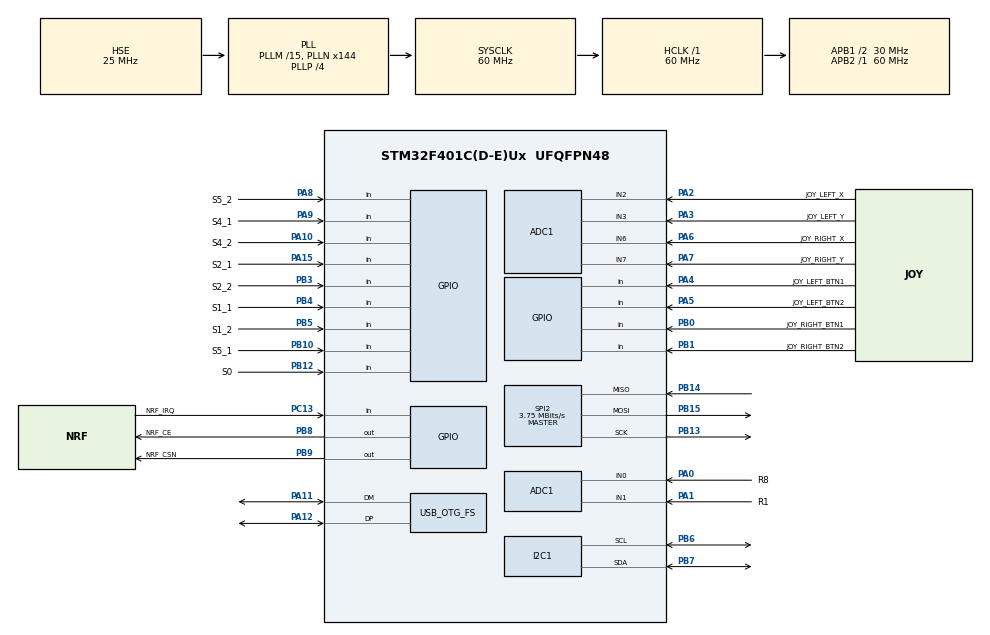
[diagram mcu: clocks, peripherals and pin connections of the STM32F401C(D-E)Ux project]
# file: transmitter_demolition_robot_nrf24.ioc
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ADC1.Channel-0\#ChannelRegularConversion=ADC_CHANNEL_0
ADC1.NbrOfConversionFlag=1
ADC1.Rank-0\#ChannelRegularConversion=1
ADC1.SamplingTime-0\#ChannelRegularConversion=ADC_SAMPLETIME_3CYCLES
ADC1.master=1
I2C1.I2C_Mode=I2C_Fast
Mcu.Family=STM32F4
Mcu.Name=STM32F401C(D-E)Ux
Mcu.Package=UFQFPN48
NVIC.OTG_FS_IRQn=true\:0\:0\:false\:false\:true\:false\:true\:true
NVIC.PriorityGroup=NVIC_PRIORITYGROUP_4
PA0-WKUP.GPIO_Label=R8
PA0-WKUP.Signal=ADCx_IN0
PA1.GPIO_Label=R1
PA1.Signal=ADCx_IN1
PA10.GPIO_Label=S4_2
PA10.Signal=GPIO_Input
PA11.Mode=Device_Only
PA11.Signal=USB_OTG_FS_DM
PA12.Mode=Device_Only
PA12.Signal=USB_OTG_FS_DP
PA15.GPIO_Label=S2_1
PA15.Signal=GPIO_Input
PA2.GPIO_Label=JOY_LEFT_X
PA2.Signal=ADCx_IN2
PA3.GPIO_Label=JOY_LEFT_Y
PA3.Signal=ADCx_IN3
PA4.GPIO_Label=JOY_LEFT_BTN1
PA4.Signal=GPIO_Input
PA5.GPIO_Label=JOY_LEFT_BTN2
PA5.Signal=GPIO_Input
PA6.GPIO_Label=JOY_RIGHT_X
PA6.Signal=ADCx_IN6
PA7.GPIO_Label=JOY_RIGHT_Y
PA7.Signal=ADCx_IN7
PA8.GPIO_Label=S5_2
PA8.Signal=GPIO_Input
PA9.GPIO_Label=S4_1
PA9.Signal=GPIO_Input
PB0.GPIO_Label=JOY_RIGHT_BTN1
PB0.Signal=GPIO_Input
PB1.GPIO_Label=JOY_RIGHT_BTN2
PB1.Signal=GPIO_Input
PB10.GPIO_Label=S5_1
PB10.Signal=GPIO_Input
PB12.GPIO_Label=S0
PB12.Signal=GPIO_Input
PB13.Mode=Full_Duplex_Master
PB13.Signal=SPI2_SCK
PB14.Mode=Full_Duplex_Master
PB14.Signal=SPI2_MISO
PB15.Mode=Full_Duplex_Master
PB15.Signal=SPI2_MOSI
PB3.GPIO_Label=S2_2
PB3.Signal=GPIO_Input
PB4.GPIO_Label=S1_1
PB4.Signal=GPIO_Input
PB5.GPIO_Label=S1_2
PB5.Signal=GPIO_Input
PB6.Mode=I2C
PB6.Signal=I2C1_SCL
PB7.Mode=I2C
PB7.Signal=I2C1_SDA
PB8.GPIO_Label=NRF_CE
PB8.Signal=GPIO_Output
PB9.GPIO_Label=NRF_CSN
PB9.Signal=GPIO_Output
PC13-ANTI_TAMP.GPIO_Label=NRF_IRQ
PC13-ANTI_TAMP.Signal=GPIO_Input
PH0\ -\ OSC_IN.Mode=HSE-External-Oscillator
PH0\ -\ OSC_IN.Signal=RCC_OSC_IN
PH1\ -\ OSC_OUT.Mode=HSE-External-Oscillator
PH1\ -\ OSC_OUT.Signal=RCC_OSC_OUT
ProjectManager.HeapSize=0x200
ProjectManager.StackSize=0x400
ProjectManager.TargetToolchain=STM32CubeIDE
RCC.48MHZClocksFreq_Value=48000000
RCC.AHBFreq_Value=60000000
RCC.APB1CLKDivider=RCC_HCLK_DIV2
RCC.APB1Freq_Value=30000000
RCC.APB1TimFreq_Value=60000000
RCC.APB2Freq_Value=60000000
RCC.APB2TimFreq_Value=60000000
RCC.CortexFreq_Value=60000000
RCC.HCLKFreq_Value=60000000
RCC.HSE_VALUE=25000000
RCC.HSI_VALUE=16000000
RCC.LSE_VALUE=32768
RCC.PLLM=15
RCC.PLLN=144
RCC.PLLP=RCC_PLLP_DIV4
RCC.PLLQ=5
RCC.SYSCLKFreq_VALUE=60000000
RCC.SYSCLKSource=RCC_SYSCLKSOURCE_PLLCLK
RCC.VCOOutputFreq_Value=240000000
SH.ADCx_IN0.0=ADC1_IN0,IN0
SH.ADCx_IN1.0=ADC1_IN1,IN1
SH.ADCx_IN2.0=ADC1_IN2,IN2
SH.ADCx_IN3.0=ADC1_IN3,IN3
SH.ADCx_IN6.0=ADC1_IN6,IN6
SH.ADCx_IN7.0=ADC1_IN7,IN7
SPI2.BaudRatePrescaler=SPI_BAUDRATEPRESCALER_8
SPI2.CalculateBaudRate=3.75 MBits/s
SPI2.Direction=SPI_DIRECTION_2LINES
SPI2.Mode=SPI_MODE_MASTER
SPI2.VirtualType=VM_MASTER
USB_DEVICE.CLASS_NAME_FS=CDC
USB_DEVICE.VirtualMode-CDC_FS=Cdc
USB_DEVICE.VirtualModeFS=Cdc_FS
USB_OTG_FS.VirtualMode=Device_Only
VP_USB_DEVICE_VS_USB_DEVICE_CDC_FS.Mode=CDC_FS
board=custom

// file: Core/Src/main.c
/* USER CODE BEGIN Header */
/**
  ******************************************************************************
  * @file           : main.c
  * @brief          : Main program body
  ******************************************************************************
  * @attention
  *
  * Copyright (c) 2025 STMicroelectronics.
  * All rights reserved.
  *
  * This software is licensed under terms that can be found in the LICENSE file
  * in the root directory of this software component.
  * If no LICENSE file comes with this software, it is provided AS-IS.
  *
  ******************************************************************************
  */
/* USER CODE END Header */
#include "main.h"
#include "adc.h"
#include "i2c.h"
#include "spi.h"
#include "usb_device.h"
#include "gpio.h"

/* USER CODE BEGIN Includes */
// Custom modules (OOP style)
#include "var.h"
#include "joystick.h"
#include "switch.h"
#include "usb.h"
#include "nrf24.h"
#include "oled.h"
#include "battery.h"
/* USER CODE END Includes */

/* USER CODE BEGIN PV */
// NOTE: Add this in i2c.c after enabling I2C1 in CubeMX:
// I2C_HandleTypeDef hi2c1;
extern I2C_HandleTypeDef hi2c1;  // I2C1 for OLED (PB6=SCL, PB7=SDA)
/* USER CODE END PV */

void SystemClock_Config(void);

int main(void)
{

  /* MCU Configuration--------------------------------------------------------*/

  /* Reset of all peripherals, Initializes the Flash interface and the Systick. */
  HAL_Init();

  /* Configure the system clock */
  SystemClock_Config();

  /* Initialize all configured peripherals */
  MX_GPIO_Init();
  MX_ADC1_Init();
  MX_SPI2_Init();
  MX_USB_DEVICE_Init();
  MX_I2C1_Init();
  /* USER CODE BEGIN 2 */

  // SLEEP mode variables
  uint8_t sleep_mode_active = 1;  // Start in SLEEP mode for safety!
  uint8_t sleep_transition_steps = 0;
  uint8_t safety_check_passed = 0;
  uint8_t last_s2_1_state = 0;
  uint8_t s2_1_hold_counter = 0;
  uint8_t s1_1_hold_counter = 0;
  uint8_t last_s0_state = 1;  // Track S0 state to detect S0 transitions (0→1)

  #define SLEEP_TRANSITION_SPEED 10  // 10 steps = 100ms total transition (10ms per step, very responsive!)
  #define S2_1_HOLD_REQUIRED 10      // 10 cycles x 100ms = 1 second hold required
  #define S1_1_HOLD_REQUIRED 10      // 10 cycles x 100ms = 1 second hold required

  // Motor starter variables
  uint8_t motor_active = 0;        // Motor starter state (0=OFF, 1=ON)

  // Safety tolerances for exiting SLEEP mode
  #define JOYSTICK_CENTER 127
  #define JOYSTICK_TOLERANCE 5   // ±5 points tolerance

  // Initialize custom modules
  Var_Init();      // Initialize data structure dan sub-modules (joystick, switch)
  USB_Init();      // Initialize USB CDC

  // Initialize NRF24L01+ module with CE=PB8, CSN=PB9 (Hardware SPI2)
  NRF24_Init(&hspi2, GPIOB, GPIO_PIN_8, GPIOB, GPIO_PIN_9);

  // Welcome message
  USB_Print("\r\n\r\n");
  USB_Print("========================================\r\n");
  USB_Print("  DEMOLITION ROBOT TRANSMITTER (NRF24)\r\n");
  USB_Print("========================================\r\n");
  USB_Print("Configuring NRF24L01+...\r\n");

  // Configure NRF24 module
  if (NRF24_Configure())
  {
      USB_Print("NRF24L01+ configured successfully!\r\n");
      if (NRF24_IsConnected())
      {
          USB_Print("NRF24L01+ module detected!\r\n");
      }
      else
      {
          USB_Print("WARNING: NRF24L01+ not detected!\r\n");
      }
  }
  else
  {
      USB_Print("NRF24L01+ configuration failed!\r\n");
  }

  USB_Print("NRF24L01+ initialized - Ready to transmit\r\n");
  USB_Print("========================================\r\n");
  HAL_Delay(50);

  // ========================================================================
  // WAIT FOR S0 = 1 BEFORE SYSTEM START (Emergency safety check)
  // ========================================================================
  // System will NOT start until S0 switch is in NORMAL position (S0 = 1)
  // This prevents starting system in EMERGENCY mode (S0 = 0)
  // Ensures safe startup with emergency relay (PB8) in non-active state
  USB_Print("Waiting for S0 switch in NORMAL position (not emergency)...\r\n");

  while (1)
  {
      Var_Update();  // Read switch states

      if (tx_data.switches.s0 == 1)
      {
          // S0 is in NORMAL position - safe to start system!
          USB_Print("S0 in NORMAL mode - Starting system...\r\n");
          break;  // Exit wait loop
      }

      // S0 still in EMERGENCY position - keep waiting
      HAL_Delay(100);
  }

  // Initialize OLED Display (128x64 I2C on PB6/PB7)
  // NOTE: Make sure I2C1 is enabled in CubeMX first!
  // PB6 = I2C1_SCL, PB7 = I2C1_SDA
  OLED_Init(&hi2c1);
  USB_Print("OLED Display initialized\r\n");

  // Show splash screen
  OLED_ShowSplashScreen();
  USB_Print("Splash screen shown\r\n");

  /* USER CODE END 2 */

  /* Infinite loop */
  while (1)
  {

    /* USER CODE BEGIN 3 */
    // Update semua data sensor
    Var_Update();

    // ========================================================================
    // S0 EMERGENCY SWITCH - Controls emergency relay (PB8) on robot
    // ========================================================================
    // S0 = 0: EMERGENCY MODE (transmit s0=0 → PB8 LOW → emergency relay aktif)
    // S0 = 1: NORMAL MODE (transmit s0=1 → PB8 HIGH → emergency relay non-aktif)

    if (tx_data.switches.s0 == 0)
    {
        // ====================================================================
        // S0 = 0 - EMERGENCY MODE
        // ====================================================================
        // Transmit s0 = 0 to trigger emergency relay (PB8 LOW) on robot

        // Turn off OLED to save battery
        OLED_Clear();
        OLED_Update();

        // Override all controls to SAFE values for emergency
        tx_data.joystick.left_x  = 127;
        tx_data.joystick.left_y  = 127;
        tx_data.joystick.right_x = 127;
        tx_data.joystick.right_y = 127;

        // All switches to 0 (except s0 which remains 0 for emergency signal)
        tx_data.switches.joy_left_btn1  = 0;
        tx_data.switches.joy_left_btn2  = 0;
        tx_data.switches.joy_right_btn1 = 0;
        tx_data.switches.joy_right_btn2 = 0;
        tx_data.switches.s1_1 = 0;
        tx_data.switches.s1_2 = 0;
        tx_data.switches.s2_1 = 0;
        tx_data.switches.s2_2 = 0;
        tx_data.switches.s4_1 = 0;
        tx_data.switches.s4_2 = 0;
        tx_data.switches.s5_1 = 0;
        tx_data.switches.s5_2 = 0;
        tx_data.switches.motor_active = 0;

        // Remember S0 was OFF
        last_s0_state = 0;

        // Reset all system variables (emergency state)
        sleep_mode_active = 1;
        sleep_transition_steps = 0;
        safety_check_passed = 0;
        s2_1_hold_counter = 0;
        s1_1_hold_counter = 0;
        motor_active = 0;

        // IMPORTANT: Continue to transmit s0 = 0 (DO NOT skip transmission!)
    }
    else
    {
        // ====================================================================
        // S0 = 1 - NORMAL MODE
        // ====================================================================
        // Check if S0 just transitioned from 0→1 (recovery from emergency)
        if (last_s0_state == 0)
        {
            // S0 switched from emergency to normal! Show splash screen
            USB_Print("S0 switched ON - Recovery from emergency\r\n");
            OLED_ShowSplashScreen();
            HAL_Delay(1000);  // Display splash for 1 second
            last_s0_state = 1;

            // Reset all system variables (fresh start after emergency)
            sleep_mode_active = 1;
            sleep_transition_steps = 0;
            safety_check_passed = 0;
            s2_1_hold_counter = 0;
            s1_1_hold_counter = 0;
            motor_active = 0;

            USB_Print("System restarted - Entering SLEEP mode\r\n");
        }
    }

    // ========================================================================
    // SLEEP MODE - Safety Feature with Safety Interlock
    // ========================================================================

    if (sleep_mode_active)
    {
        // ====================================================================
        // S0 = 1, but still in SLEEP mode - Check Safety Interlock to Exit
        // ====================================================================

        // Step 1: Check if all controls are in SAFE position
        uint8_t joystick_safe = 0;
        uint8_t switches_safe = 0;

        // Check joysticks are centered (127 ± 5)
        if ((tx_data.joystick.left_x  >= JOYSTICK_CENTER - JOYSTICK_TOLERANCE) &&
            (tx_data.joystick.left_x  <= JOYSTICK_CENTER + JOYSTICK_TOLERANCE) &&
            (tx_data.joystick.left_y  >= JOYSTICK_CENTER - JOYSTICK_TOLERANCE) &&
            (tx_data.joystick.left_y  <= JOYSTICK_CENTER + JOYSTICK_TOLERANCE) &&
            (tx_data.joystick.right_x >= JOYSTICK_CENTER - JOYSTICK_TOLERANCE) &&
            (tx_data.joystick.right_x <= JOYSTICK_CENTER + JOYSTICK_TOLERANCE) &&
            (tx_data.joystick.right_y >= JOYSTICK_CENTER - JOYSTICK_TOLERANCE) &&
            (tx_data.joystick.right_y <= JOYSTICK_CENTER + JOYSTICK_TOLERANCE))
        {
            joystick_safe = 1;
        }

        // Check all switches are 0 (except S0 and S2_1 which are excluded)
        // S0 is emergency button (already checked above)
        // S2_1 is excluded so user can press S2_1 to exit SLEEP mode
        // S2_2 must still be OFF for safety
        if ((tx_data.switches.joy_left_btn1  == 0) &&
            (tx_data.switches.joy_left_btn2  == 0) &&
            (tx_data.switches.joy_right_btn1 == 0) &&
            (tx_data.switches.joy_right_btn2 == 0) &&
            (tx_data.switches.s1_1 == 0) &&
            (tx_data.switches.s1_2 == 0) &&
            // S2_1 NOT checked - used to exit SLEEP mode
            (tx_data.switches.s2_2 == 0) &&  // S2_2 must be OFF
            (tx_data.switches.s4_1 == 0) &&
            (tx_data.switches.s4_2 == 0) &&
            (tx_data.switches.s5_1 == 0) &&
            (tx_data.switches.s5_2 == 0))
        {
            switches_safe = 1;
        }

        // Step 2: If all safety checks pass, wait for S2_1 HOLD to exit SLEEP mode
        if (joystick_safe && switches_safe)
        {
            safety_check_passed = 1;

            // S2_1 must be held for S2_1_HOLD_REQUIRED cycles (2 seconds)
            if (tx_data.switches.s2_1 == 1)
            {
                // S2_1 is pressed - increment hold counter
                s2_1_hold_counter++;

                // Check if held long enough
                if (s2_1_hold_counter >= S2_1_HOLD_REQUIRED)
                {
                    // S2_1 held for 2 seconds - EXIT SLEEP MODE!
                    sleep_mode_active = 0;
                    sleep_transition_steps = 0;
                    s2_1_hold_counter = 0;  // Reset counter
                }
            }
            else
            {
                // S2_1 released before hold time completed - reset counter
                s2_1_hold_counter = 0;
            }

            last_s2_1_state = tx_data.switches.s2_1;
        }
        else
        {
            // Safety check failed - reset state
            safety_check_passed = 0;
            last_s2_1_state = 0;
            s2_1_hold_counter = 0;

            // Override transmitted data to safe values during SLEEP
            tx_data.joystick.left_x  = 127;
            tx_data.joystick.left_y  = 127;
            tx_data.joystick.right_x = 127;
            tx_data.joystick.right_y = 127;

            // All switches to 0
            tx_data.switches.joy_left_btn1  = 0;
            tx_data.switches.joy_left_btn2  = 0;
            tx_data.switches.joy_right_btn1 = 0;
            tx_data.switches.joy_right_btn2 = 0;
            tx_data.switches.s1_1 = 0;
            tx_data.switches.s1_2 = 0;
            tx_data.switches.s2_1 = 0;
            tx_data.switches.s2_2 = 0;
            tx_data.switches.s4_1 = 0;
            tx_data.switches.s4_2 = 0;
            tx_data.switches.s5_1 = 0;
            tx_data.switches.s5_2 = 0;
        }
    }
    else
    {
        // ====================================================================
        // Normal operation - S0 = 1 and not in SLEEP mode
        // ====================================================================
        // Use actual sensor readings (already in tx_data from Var_Update)
        safety_check_passed = 0;
        last_s2_1_state = tx_data.switches.s2_1;
    }

    // ========================================================================
    // MOTOR STARTER CONTROL - S1_1 HOLD (1 second) - SELF-HOLDING
    // ========================================================================
    // Flow: SLEEP → Safety OK → Hold S2_1 (1s) → Exit SLEEP → Hold S1_1 (1s) → Motor ON (LATCHED)
    // Motor remains ON even after S1_1 is released (self-holding relay behavior)
    // Motor only turns OFF when entering SLEEP mode

    if (!sleep_mode_active)
    {
        // Not in SLEEP mode - motor control allowed
        if (tx_data.switches.s1_1 == 1)
        {
            // S1_1 is pressed - increment hold counter
            s1_1_hold_counter++;

            // Check if held long enough
            if (s1_1_hold_counter >= S1_1_HOLD_REQUIRED)
            {
                // S1_1 held for 1 second - ACTIVATE MOTOR! (Latched/Self-holding)
                motor_active = 1;
            }
        }
        else
        {
            // S1_1 released - Motor stays ON (self-holding), just reset counter
            s1_1_hold_counter = 0;  // Reset counter for next time
            // Note: motor_active remains unchanged (stays ON if it was ON)
        }
    }
    else
    {
        // In SLEEP mode - force motor OFF (only way to stop motor)
        motor_active = 0;
        s1_1_hold_counter = 0;
    }

    // Update motor state in tx_data before transmission
    tx_data.switches.motor_active = motor_active;

    // Transmit via NRF24L01+ using BINARY format (FAST! No parsing needed)
    // Binary format - only 8 bytes, compatible with receiver
    // NRF24 structure is compatible with our Transmitter_Data_t
    NRF24_Data_t nrf_data;
    nrf_data.joy_left_x = tx_data.joystick.left_x;
    nrf_data.joy_left_y = tx_data.joystick.left_y;
    nrf_data.joy_right_x = tx_data.joystick.right_x;
    nrf_data.joy_right_y = tx_data.joystick.right_y;
    nrf_data.r8 = tx_data.joystick.r8;
    nrf_data.r1 = tx_data.joystick.battery_percent;  // Using battery as R1
    nrf_data.joy_left_btn1 = tx_data.switches.joy_left_btn1;
    nrf_data.joy_left_btn2 = tx_data.switches.joy_left_btn2;
    nrf_data.joy_right_btn1 = tx_data.switches.joy_right_btn1;
    nrf_data.joy_right_btn2 = tx_data.switches.joy_right_btn2;
    nrf_data.s0 = tx_data.switches.s0;
    nrf_data.s1_1 = tx_data.switches.s1_1;
    nrf_data.s1_2 = tx_data.switches.s1_2;
    nrf_data.s2_1 = tx_data.switches.s2_1;
    nrf_data.s2_2 = tx_data.switches.s2_2;
    nrf_data.s4_1 = tx_data.switches.s4_1;
    nrf_data.s4_2 = tx_data.switches.s4_2;
    nrf_data.s5_1 = tx_data.switches.s5_1;
    nrf_data.s5_2 = tx_data.switches.s5_2;
    nrf_data.motor_active = tx_data.switches.motor_active;

    // Transmit packet
    NRF24_TransmitData(&nrf_data);

    // Print data ke USB untuk debugging (less frequently)
    static uint8_t usb_counter = 0;
    if (++usb_counter >= 5)  // Print USB every 5 cycles (500ms)
    {
        usb_counter = 0;
        USB_PrintData(&tx_data);
    }

    // Update OLED display with mode info and percentages (every 10 cycles = 1 second)
    // Update immediately when entering/exiting SLEEP mode, safety status changes, or hold progress changes
    // IMPORTANT: Only update OLED when S0 = 1 (NORMAL mode), not in EMERGENCY mode (S0 = 0)
    if (tx_data.switches.s0 == 1)
    {
        static uint8_t oled_counter = 0;
        static uint8_t last_sleep_state = 0;
        static uint8_t last_safety_state = 0;
        static uint8_t last_hold_counter = 0;
        static uint8_t last_motor_state = 0;

        uint8_t current_hold_progress = sleep_mode_active ? s2_1_hold_counter : s1_1_hold_counter;

        if (sleep_mode_active != last_sleep_state ||
            safety_check_passed != last_safety_state ||
            current_hold_progress != last_hold_counter ||
            motor_active != last_motor_state ||
            ++oled_counter >= 10)
        {
            oled_counter = 0;
            last_sleep_state = sleep_mode_active;
            last_safety_state = safety_check_passed;
            last_hold_counter = current_hold_progress;
            last_motor_state = motor_active;
            OLED_ShowModeScreen(tx_data.switches.s5_1, tx_data.switches.s5_2, (uint8_t*)&tx_data.joystick, sleep_mode_active, safety_check_passed, current_hold_progress, motor_active);
            OLED_Update();
        }
    }

    HAL_Delay(100);
  }
  /* USER CODE END 3 */
}

void SystemClock_Config(void)
{
  RCC_OscInitTypeDef RCC_OscInitStruct = {0};
  RCC_ClkInitTypeDef RCC_ClkInitStruct = {0};

  /** Configure the main internal regulator output voltage
  */
  __HAL_RCC_PWR_CLK_ENABLE();
  __HAL_PWR_VOLTAGESCALING_CONFIG(PWR_REGULATOR_VOLTAGE_SCALE2);

  /** Initializes the RCC Oscillators according to the specified parameters
  * in the RCC_OscInitTypeDef structure.
  */
  RCC_OscInitStruct.OscillatorType = RCC_OSCILLATORTYPE_HSE;
  RCC_OscInitStruct.HSEState = RCC_HSE_ON;
  RCC_OscInitStruct.PLL.PLLState = RCC_PLL_ON;
  RCC_OscInitStruct.PLL.PLLSource = RCC_PLLSOURCE_HSE;
  RCC_OscInitStruct.PLL.PLLM = 15;
  RCC_OscInitStruct.PLL.PLLN = 144;
  RCC_OscInitStruct.PLL.PLLP = RCC_PLLP_DIV4;
  RCC_OscInitStruct.PLL.PLLQ = 5;
  if (HAL_RCC_OscConfig(&RCC_OscInitStruct) != HAL_OK)
  {
    Error_Handler();
  }

  /** Initializes the CPU, AHB and APB buses clocks
  */
  RCC_ClkInitStruct.ClockType = RCC_CLOCKTYPE_HCLK|RCC_CLOCKTYPE_SYSCLK
                              |RCC_CLOCKTYPE_PCLK1|RCC_CLOCKTYPE_PCLK2;
  RCC_ClkInitStruct.SYSCLKSource = RCC_SYSCLKSOURCE_PLLCLK;
  RCC_ClkInitStruct.AHBCLKDivider = RCC_SYSCLK_DIV1;
  RCC_ClkInitStruct.APB1CLKDivider = RCC_HCLK_DIV2;
  RCC_ClkInitStruct.APB2CLKDivider = RCC_HCLK_DIV1;

  if (HAL_RCC_ClockConfig(&RCC_ClkInitStruct, FLASH_LATENCY_1) != HAL_OK)
  {
    Error_Handler();
  }
}

void Error_Handler(void)
{
  __disable_irq();
  while (1)
  {
  }
}
